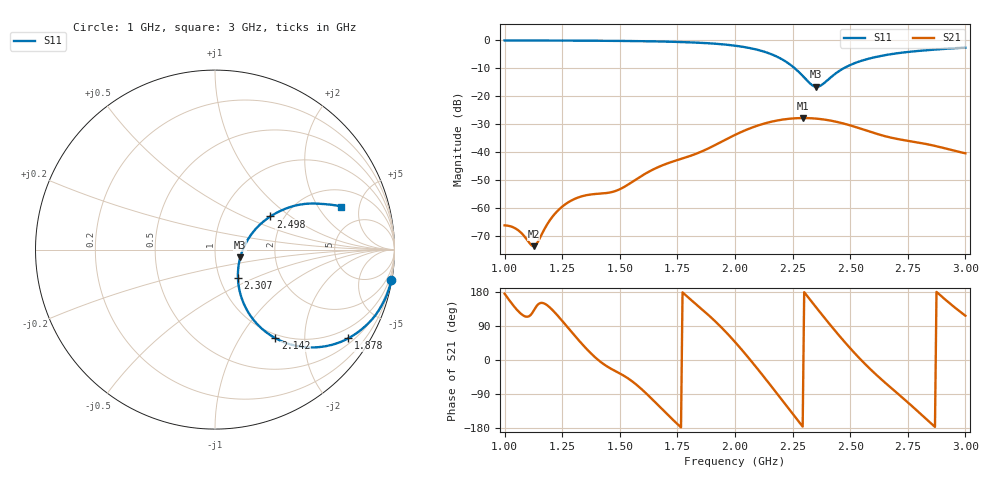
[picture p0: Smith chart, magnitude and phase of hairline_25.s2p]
! TOUCHSTONE file generated by CST MICROWAVE STUDIO
! Date and time: Tue Mar 18 20:31:46 2025
! Project name: hairline.cst
! Parameters = {B=12.5; D=160; F=15; Feed=2.85625; Fracture=0.5; L=100; M=30; R=0.384908; S=1.5; Theta=180; length=57.125; wave=114.25}
! Header version: 2024
! Port assignment regex: !\s*Touchstone port\s*([0-9]+)\s*=\s*(CST MWS port|CST DES external port|CST DES block port)\s*(.+)\s* \(\"(.*)\"\)(\s*mode\s*([0-9]+))?.*
! Touchstone port assignment:
! Touchstone port 1 = CST MWS port 1 ("")
! Touchstone port 2 = CST MWS port 2 ("")
# GHz S DB R 50
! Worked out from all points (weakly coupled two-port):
!   304 points, 1 GHz to 3 GHz, reference 50 ohm
!   highest |S21| = -27.85 dB at 2.294 GHz (marker M1); lowest = -73.8 dB at 1.125 GHz (marker M2)
!   lowest |S11| = -16.6 dB at 2.353 GHz (marker M3), VSWR 1.35, Z = 66.1 - j5.74 ohm
!   |S11| at or under -10 dB: 2.259 GHz to 2.472 GHz (212.4 MHz wide, 8.98 % of centre)
!   S12 and S22 are empty: the file has one direction only
!   S11 on the Smith chart (normalised r, x): 1 GHz: 0, -12; 1.878 GHz: 0.66, -3.18; 2.142 GHz: 0.94, -1.45; 2.307 GHz: 1.22, -0.40; 2.498 GHz: 1.70, +0.72; 3 GHz: 3.09, +3.31
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1  -0.02 -9.7  -66.34 175.0  -200.00 0.0  -200.00 0.0
1.05941  -0.03 -10.5  -68.13 128.7  -200.00 0.0  -200.00 0.0
1.12541  -0.04 -11.5  -73.81 129.3  -200.00 0.0  -200.00 0.0
1.13861  -0.04 -11.7  -73.01 142.1  -200.00 0.0  -200.00 0.0
1.19142  -0.05 -12.5  -65.11 141.3  -200.00 0.0  -200.00 0.0
1.23102  -0.06 -13.2  -61.05 116.6  -200.00 0.0  -200.00 0.0
1.27723  -0.07 -14.0  -58.03 83.6  -200.00 0.0  -200.00 0.0
1.33663  -0.09 -15.1  -55.89 41.8  -200.00 0.0  -200.00 0.0
1.48845  -0.18 -18.5  -53.80 -31.8  -200.00 0.0  -200.00 0.0
1.66667  -0.37 -23.9  -45.45 -119.3  -200.00 0.0  -200.00 0.0
1.87789  -0.99 -33.6  -39.00 122.4  -200.00 0.0  -200.00 0.0
2.0033  -1.93 -42.6  -33.76 45.3  -200.00 0.0  -200.00 0.0
2.14191  -4.46 -55.7  -29.49 -57.1  -200.00 0.0  -200.00 0.0
2.22112  -7.63 -61.8  -28.24 -118.9  -200.00 0.0  -200.00 0.0
2.29373  -12.73 -55.6  -27.85 -175.8  -200.00 0.0  -200.00 0.0
2.30693  -13.89 -50.8  -27.86 173.9  -200.00 0.0  -200.00 0.0
2.33993  -16.31 -28.9  -27.97 148.3  -200.00 0.0  -200.00 0.0
2.35314  -16.64 -16.8  -28.06 138.1  -200.00 0.0  -200.00 0.0
2.42574  -12.57 25.0  -28.94 83.5  -200.00 0.0  -200.00 0.0
2.49835  -8.89 30.9  -30.44 32.1  -200.00 0.0  -200.00 0.0
2.66997  -5.03 27.0  -34.74 -69.6  -200.00 0.0  -200.00 0.0
3  -2.57 18.8  -40.49 116.8  -200.00 0.0  -200.00 0.0
